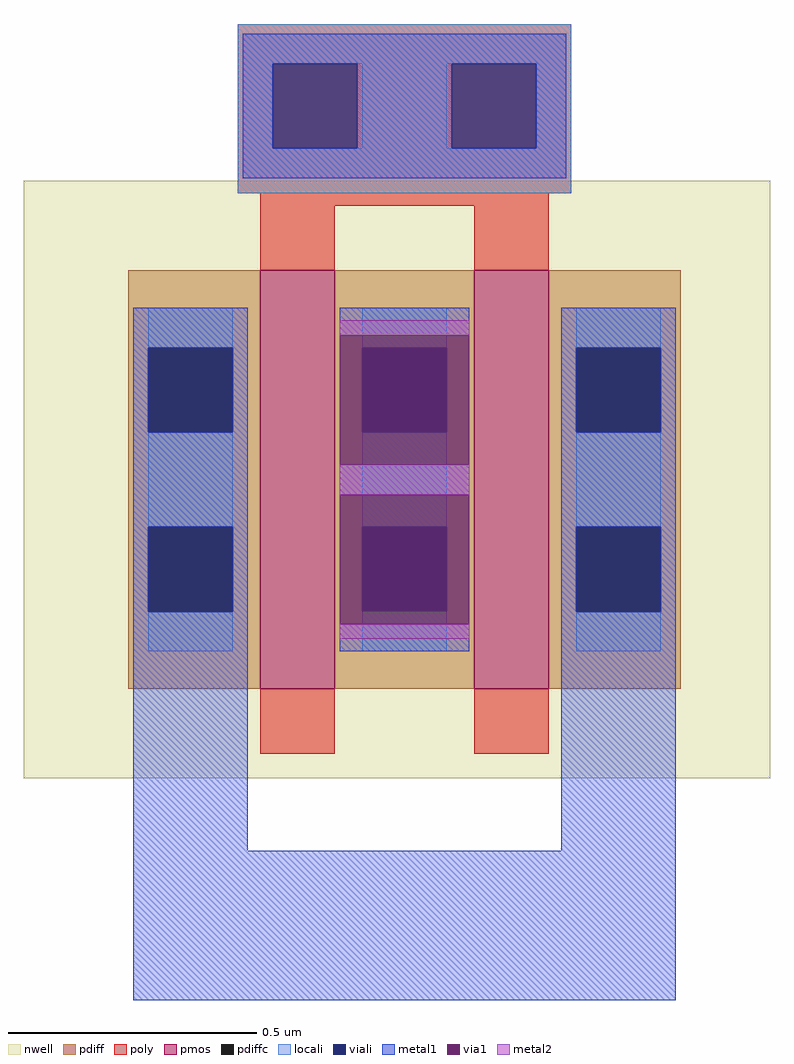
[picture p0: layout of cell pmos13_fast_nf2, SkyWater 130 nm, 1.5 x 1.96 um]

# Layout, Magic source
magic
tech sky130A
magscale 1 2
<< nwell >>
rect -66 208 234 448
<< pmos >>
rect 29 244 59 412
rect 115 244 145 412
<< pdiff >>
rect -24 381 29 412
rect -24 347 -16 381
rect 18 347 29 381
rect -24 309 29 347
rect -24 275 -16 309
rect 18 275 29 309
rect -24 244 29 275
rect 59 381 115 412
rect 59 347 70 381
rect 104 347 115 381
rect 59 309 115 347
rect 59 275 70 309
rect 104 275 115 309
rect 59 244 115 275
rect 145 381 198 412
rect 145 347 156 381
rect 190 347 198 381
rect 145 309 198 347
rect 145 275 156 309
rect 190 275 198 309
rect 145 244 198 275
<< pdiffc >>
rect -16 347 18 381
rect -16 275 18 309
rect 70 347 104 381
rect 70 275 104 309
rect 156 347 190 381
rect 156 275 190 309
<< poly >>
rect 20 495 154 511
rect 20 461 36 495
rect 70 461 104 495
rect 138 461 154 495
rect 20 443 154 461
rect 29 438 145 443
rect 29 412 59 438
rect 115 412 145 438
rect 29 218 59 244
rect 115 218 145 244
< polycont >>
rect 36 461 70 495
rect 104 461 138 495
<< locali >>
rect 20 495 154 511
rect 20 461 34 495
rect 70 461 104 495
rect 140 461 154 495
rect 20 443 154 461
rect -16 381 18 397
rect -16 309 18 347
rect -16 259 18 275
rect 70 381 104 397
rect 70 309 104 347
rect 70 259 104 275
rect 156 381 190 397
rect 156 309 190 347
rect 156 259 190 275
<< viali >>
rect 34 461 36 495
rect 36 461 68 495
rect 106 461 138 495
rect 138 461 140 495
rect -16 347 18 381
rect -16 275 18 309
rect 70 347 104 381
rect 70 275 104 309
rect 156 347 190 381
rect 156 275 190 309
<< metal1 >>
rect 22 495 152 507
rect 22 461 34 495
rect 68 461 106 495
rect 140 461 152 495
rect 22 449 152 461
rect -22 381 24 397
rect -22 347 -16 381
rect 18 347 24 381
rect -22 309 24 347
rect -22 275 -16 309
rect 18 275 24 309
rect -22 179 24 275
rect 61 386 113 397
rect 61 322 113 334
rect 61 259 113 270
rect 150 381 196 397
rect 150 347 156 381
rect 190 347 196 381
rect 150 309 196 347
rect 150 275 156 309
rect 190 275 196 309
rect 150 179 196 275
rect -22 119 196 179
<< via1 >>
rect 61 381 113 386
rect 61 347 70 381
rect 70 347 104 381
rect 104 347 113 381
rect 61 334 113 347
rect 61 309 113 322
rect 61 275 70 309
rect 70 275 104 309
rect 104 275 113 309
rect 61 270 113 275
<< metal2 >>
rect 61 386 113 392
rect 61 322 113 334
rect 61 264 113 270
<< end >>
